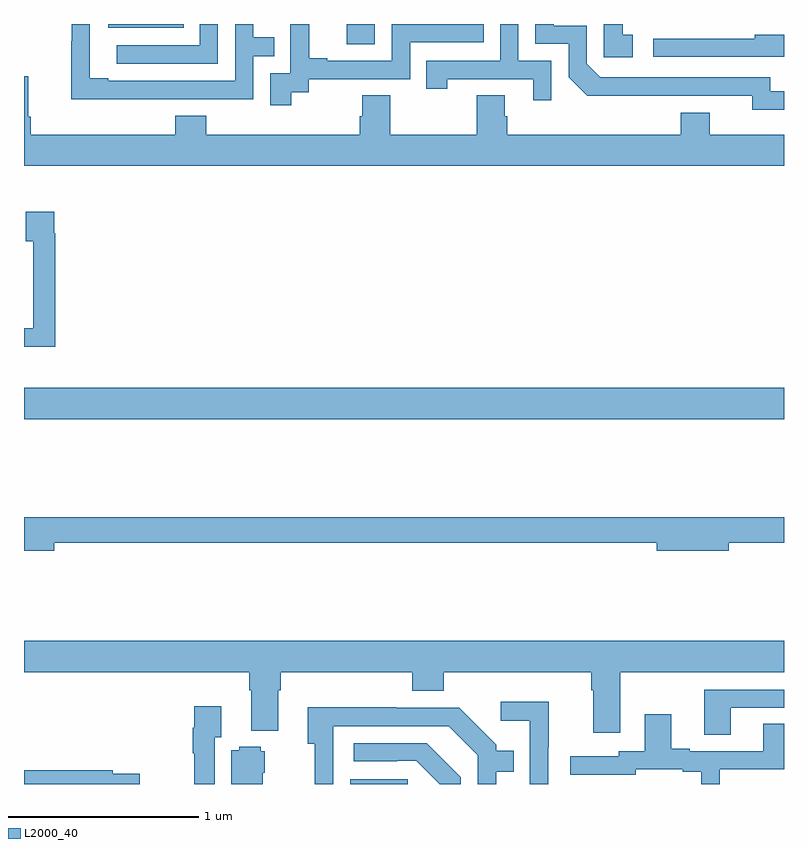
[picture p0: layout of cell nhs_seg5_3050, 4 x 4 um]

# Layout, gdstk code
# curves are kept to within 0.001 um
import gdstk
lib = gdstk.Library(unit=1e-6, precision=1e-09)
def R(c, l, rs):  # rectangles x0, y0, x1, y1
    for r in rs: c.add(gdstk.rectangle(r[:2], r[2:], *l))
def P(c, l, *ps):  # polygons
    for p in ps: c.add(gdstk.Polygon(p, *l))
L2000_40 = (2000, 40)

nhs_seg5_3050 = lib.new_cell('nhs_seg5_3050')
R(nhs_seg5_3050, L2000_40, [(288.716,894.799,289.021,894.825), (287,896.72,291,896.884), (288.699,898.692,288.846,898.799), (287.444,898.778,287.84,898.799), (287.061,898.797,287.157,898.799)])
P(nhs_seg5_3050, L2000_40, [(287.711,898.404),(288.207,898.404),(288.207,898.629),(288.317,898.629),(288.317,898.73),(288.207,898.73),(288.207,898.799),(288.111,898.799),(288.111,898.5),(287.443,898.5),(287.443,898.513),(287.346,898.513),(287.346,898.799),(287.25,898.799),(287.25,898.709),(287.248,898.709),(287.248,898.403),(287.711,898.403)],
  [(289.776,898.605),(289.602,898.605),(289.602,898.799),(289.506,898.799),(289.506,898.605),(289.117,898.605),(289.117,898.458),(289.228,898.458),(289.228,898.509),(289.679,898.509),(289.679,898.398),(289.776,898.398)],
  [(288.406,898.441),(288.498,898.441),(288.498,898.509),(289.032,898.509),(289.032,898.704),(289.421,898.704),(289.421,898.799),(288.936,898.799),(288.936,898.605),(288.595,898.605),(288.595,898.618),(288.5,898.618),(288.5,898.799),(288.401,898.799),(288.401,898.769),(288.402,898.769),(288.402,898.539),(288.297,898.539),(288.297,898.371),(288.406,898.371)],
  [(288.021,898.799),(287.925,898.799),(287.925,898.686),(287.487,898.686),(287.487,898.59),(288.021,898.59)],
  [(290.203,898.743),(290.15,898.743),(290.15,898.799),(290.052,898.799),(290.052,898.623),(290.203,898.623)],
  [(291,898.446),(290.928,898.446),(290.928,898.518),(290.034,898.518),(289.962,898.59),(289.962,898.791),(289.789,898.791),(289.789,898.799),(289.692,898.799),(289.692,898.695),(289.866,898.695),(289.866,898.518),(289.964,898.421),(290.832,898.422),(290.832,898.349),(291,898.349)],
  [(291,898.742),(290.845,898.742),(290.845,898.722),(290.313,898.722),(290.313,898.626),(291,898.626)],
  [(291,898.216),(290.608,898.216),(290.608,898.333),(290.456,898.333),(290.456,898.216),(289.544,898.216),(289.544,898.314),(289.531,898.314),(289.531,898.424),(289.384,898.424),(289.384,898.216),(288.927,898.216),(288.927,898.424),(288.779,898.424),(288.779,898.314),(288.767,898.314),(288.767,898.216),(287.96,898.216),(287.96,898.315),(287.795,898.315),(287.795,898.216),(287.036,898.216),(287.036,898.312),(287.023,898.312),(287.023,898.525),(287,898.525),(287,898.052),(291,898.052)],
  [(287.165,897.698),(287.158,897.698),(287.158,897.811),(287.009,897.811),(287.009,897.655),(287.049,897.655),(287.049,897.198),(287,897.198),(287,897.101),(287.165,897.101)],
  [(287.158,896.068),(290.33,896.068),(290.33,896.026),(290.71,896.026),(290.71,896.068),(291,896.068),(291,896.204),(287,896.204),(287,896.026),(287.158,896.026)],
  [(290.137,895.388),(291,895.388),(291,895.552),(287,895.552),(287,895.388),(288.185,895.388),(288.185,895.292),(288.197,895.292),(288.197,895.079),(288.337,895.079),(288.337,895.292),(288.35,895.292),(288.35,895.388),(289.043,895.388),(289.043,895.289),(289.208,895.289),(289.208,895.388),(289.985,895.388),(289.985,895.292),(289.997,895.292),(289.997,895.068),(290.137,895.068)],
  [(290.719,895.2),(291,895.2),(291,895.296),(290.579,895.296),(290.579,895.057),(290.719,895.057)],
  [(289.758,894.992),(289.761,894.992),(289.761,895.231),(289.509,895.231),(289.509,895.133),(289.662,895.133),(289.662,894.799),(289.758,894.799)],
  [(288.003,895.046),(288.037,895.046),(288.037,895.207),(287.895,895.207),(287.895,895.094),(287.887,895.094),(287.887,894.962),(287.895,894.962),(287.895,894.799),(288.003,894.799)],
  [(288.627,895.104),(289.236,895.104),(289.389,894.951),(289.389,894.799),(289.486,894.799),(289.486,894.864),(289.577,894.864),(289.577,894.973),(289.485,894.973),(289.485,895.005),(289.29,895.2),(288.959,895.2),(288.959,895.202),(288.494,895.202),(288.494,895.01),(288.531,895.01),(288.531,894.799),(288.627,894.799)],
  [(290.661,894.876),(291,894.876),(291,895.115),(290.891,895.115),(290.891,894.972),(290.503,894.972),(290.503,894.985),(290.407,894.985),(290.407,895.165),(290.267,895.165),(290.267,894.972),(290.13,894.972),(290.13,894.945),(289.875,894.945),(289.875,894.849),(290.22,894.849),(290.22,894.876),(290.468,894.876),(290.468,894.864),(290.564,894.864),(290.564,894.799),(290.661,894.799)],
  [(289.299,894.835),(289.12,895.014),(288.735,895.014),(288.735,894.918),(288.965,894.918),(288.965,894.921),(289.065,894.921),(289.187,894.799),(289.299,894.799)],
  [(288.256,894.858),(288.268,894.858),(288.268,894.972),(288.246,894.972),(288.246,894.994),(288.132,894.994),(288.132,894.976),(288.092,894.976),(288.092,894.799),(288.256,894.799)],
  [(287.61,894.852),(287.468,894.852),(287.468,894.872),(287,894.872),(287,894.799),(287.61,894.799)])

lib.write_gds('nhs_seg5_3050.gds')
